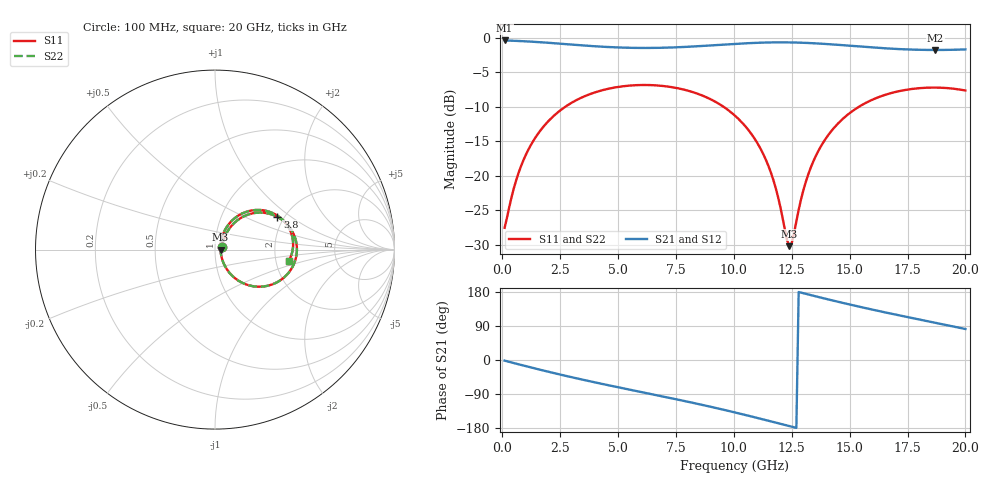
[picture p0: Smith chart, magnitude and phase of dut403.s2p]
! Touchstone file exported from HFSS 2026.1.0
!  File:  C:/ffzhzh/LocalFiles/Ansys_Project_Files/temp_train_TSV_RDL_403_1783092873_53076.aedt
!  Generated:  11:49:42 PM Jul  3, 2026
!  Design:  TSV_RDL
!  Project:  temp_train_TSV_RDL_403_1783092873_53076
! Variables:
!  h_bsmrdl = 5.63um
!  h_ox = 20um
!  h_rdl = 5um
!  h_sub = 93.73um
!  h_tmrdl = 2.82um
!  h_tsv = 93.73um
!  h_via = 3um
!  l_bsmrdl = 454.4um
!  l_sub = 4595.47um
!  l_tmrdl = 686.82um
!  m_sub = 200um
!  pitch = 27.3um
!  r_tsv = 2.89um
!  s_tmrdl = 10um
!  w_bsmrdl = 15.26um
!  w_sub = 500um
!  w_tmrdl = 13.07um
!  x_tsv_center1 = 693.355um
!  x_tsv_center2 = 1163.015um
!  x_tsv_center3 = 1862.905um
!  x_tsv_center4 = 2332.565um
!  x_tsv_center5 = 3032.455um
!  x_tsv_center6 = 3502.115um
# GHz S MA R 50.000000
! Terminal data exported
! Port[1] = TM_RDL1_1_T1
! Port[2] = TM_RDL5_1_T1
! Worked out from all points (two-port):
!   200 points, 100 MHz to 20 GHz, reference 50 ohm
!   highest |S21| = -0.35 dB at 100 MHz (marker M1); lowest = -1.7 dB at 18.7 GHz (marker M2)
!   |S21| within 3 dB of the highest: start of sweep to end of sweep
!   lowest |S11| = -30.2 dB at 12.4 GHz (marker M3), VSWR 1.06, Z = 53.2 - j0.0823 ohm
!   |S11| at or under -10 dB: start of sweep to 2.71 GHz; 9.566 GHz to 15.39 GHz (5.824 GHz wide, 46.7 % of centre)
!   |S22| runs from -30.3 to -6.8 dB; largest |S21 - S12| = 2.9e-14
!   S11 on the Smith chart (normalised r, x): 100 MHz: 1.08, +0.03; 3.8 GHz: 1.84, +0.79; 20 GHz: 2.36, -0.35
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0.1  0.04197 18.9  0.9606 -1.7  0.9606 -1.7  0.04197 18.9
! Gamma 0 0 0 0
! Port Impedance 50 0 50 0
0.7  0.1047 54.3  0.9522 -11.3  0.9522 -11.3  0.1047 54.3
1.3  0.1749 54.6  0.9407 -20.6  0.9407 -20.6  0.1749 54.6
2.3  0.2798 45.3  0.9157 -35.6  0.9157 -35.6  0.2798 45.3
3.5  0.3746 31.3  0.8834 -52.4  0.8834 -52.4  0.3746 31.3
3.8  0.3925 27.7  0.8762 -56.4  0.8762 -56.4  0.3925 27.7
5.3  0.4485 10.0  0.8513 -75.7  0.8513 -75.7  0.4485 10.0
6.8  0.4514 -7.5  0.8495 -94.5  0.8495 -94.5  0.4514 -7.5
8.6  0.3849 -29.0  0.8755 -118.0  0.8755 -118.0  0.385 -29.0
10.1  0.2685 -47.2  0.9081 -139.2  0.9081 -139.2  0.2686 -47.3
10.8  0.1967 -54.8  0.9209 -149.6  0.9209 -149.6  0.1967 -54.9
11.4  0.1288 -58.9  0.9281 -158.8  0.9281 -158.8  0.1289 -59.0
11.8  0.08253 -56.7  0.9305 -165.1  0.9305 -165.1  0.08255 -56.9
12.4  0.03087 -1.4  0.9298 -174.4  0.9298 -174.4  0.03069 -1.7
12.5  0.03251 19.5  0.9292 -176.0  0.9292 -176.0  0.03231 19.5
13  0.07831 60.2  0.9241 176.2  0.9241 176.2  0.07816 60.3
13.4  0.1236 63.1  0.9177 170.1  0.9177 170.1  0.1235 63.1
14  0.1895 59.5  0.9052 161.0  0.9052 161.0  0.1894 59.5
14.7  0.2586 52.2  0.8877 150.7  0.8877 150.7  0.2585 52.2
16.7  0.3947 28.9  0.8391 123.5  0.8391 123.5  0.3947 28.9
18.7  0.4371 6.1  0.8192 98.2  0.8192 98.2  0.4371 6.0
20  0.416 -8.6  0.8271 81.8  0.8271 81.8  0.416 -8.6
